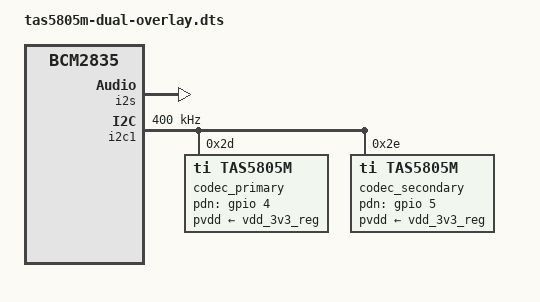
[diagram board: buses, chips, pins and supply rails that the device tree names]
// Definitions for Dual TAS5805M setup
// dtc -I dts -O dtb -o /boot/overlays/tas58xx-dual.dtbo tas5805m-dual-overlay.dts
// bash: "sudo dtoverlay tas58xx-dual"
// /boot/config.txt: "dtoverlay=tas58xx-dual"
// Primary DAC: TAS5805M@0x2d, GPIO4
// Secondary DAC: TAS5805M@0x2e, GPIO5
/dts-v1/;
/plugin/;

/ {
    compatible = "brcm,bcm2835";

    fragment@0 {
        target = <&i2s>;
        __overlay__ {
            status = "okay";
        };
    };

    fragment@1 {
        target = <&i2c1>;
        __overlay__ {
            status = "okay";
            clock-frequency = <400000>;
            #address-cells = <1>;
            #size-cells = <0>;

            codec_primary: tas5805m@2d {
                #sound-dai-cells = <0>;
                compatible = "ti,tas5805m";
                reg = <0x2d>;
                pvdd-supply = <&vdd_3v3_reg>;
                pdn-gpios = <&gpio 4 0>;
                sound-name-prefix = "2.0";
                /* ti,modulation-mode: 0=BD, 1=1SPW, 2=Hybrid (default) */
                ti,modulation-mode = <2>;
                /* ti,switching-freq: 0=768K (default), 1=384K, 2=480K, 3=576K */
                ti,switching-freq = <0>;
                /* Normal stereo mode for left/right speakers */
                /* ti,eq-mode: 0=OFF, 1=15-band (default), 2=Crossover */
                ti,eq-mode = <1>;
                /* ti,mixer-mode: 0=Stereo (default), 1=Mono, 2=Left, 3=Right */
                ti,mixer-mode = <0>;
            };

            codec_secondary: tas5805m@2e {
                #sound-dai-cells = <0>;
                compatible = "ti,tas5805m";
                reg = <0x2e>;
                pvdd-supply = <&vdd_3v3_reg>;
                pdn-gpios = <&gpio 5 0>;
                sound-name-prefix = "0.1";
                /* ti,modulation-mode: 0=BD, 1=1SPW, 2=Hybrid (default) */
                ti,modulation-mode = <2>;
                /* ti,switching-freq: 0=768K (default), 1=384K, 2=480K, 3=576K */
                ti,switching-freq = <0>;
                /* Bridge/PBTL mode for subwoofer (more power from single speaker) */
                ti,bridge-mode;
                /* ti,eq-mode: 0=OFF, 1=15-band, 2=Crossover (for subwoofer) */
                ti,eq-mode = <2>;
                /* ti,mixer-mode: 1=Mono for subwoofer (mix L+R) */
                ti,mixer-mode = <1>;
            };
        };
    };

    fragment@2 {
        target = <&sound>;
        __overlay__ {
            status = "okay";
            compatible = "simple-audio-card";
            label = "Louder-Raspberry-Dual";
            simple-audio-card,format = "i2s";
            simple-audio-card,bitclock-master = <&cpu_dai>;
            simple-audio-card,frame-master = <&cpu_dai>;
            simple-audio-card,aux-devs = <&codec_secondary>;
            simple-audio-card,widgets =
                "Speaker", "Stereo Speaker",
                "Speaker", "Subwoofer";
            simple-audio-card,routing =
                "Stereo Speaker", "2.0 OUTA",
                "Stereo Speaker", "2.0 OUTB",
                "Subwoofer", "0.1 OUTA",
                "Subwoofer", "0.1 OUTB",
                "0.1 DAC IN", "2.0 DAC";
            
            cpu_dai: simple-audio-card,cpu {
                sound-dai = <&i2s>;
                dai-tdm-slot-num = <2>;
                dai-tdm-slot-width = <32>;
            };

            simple-audio-card,codec {
                sound-dai = <&codec_primary>;
            };
        };
    };

    __overrides__ {
        firmware_primary = <&codec_primary>,"ti,dsp-config-name";
        firmware_secondary = <&codec_secondary>,"ti,dsp-config-name";
        i2creg_primary = <&codec_primary>,"reg:<>";
        i2creg_secondary = <&codec_secondary>,"reg:<>";
    };
};
